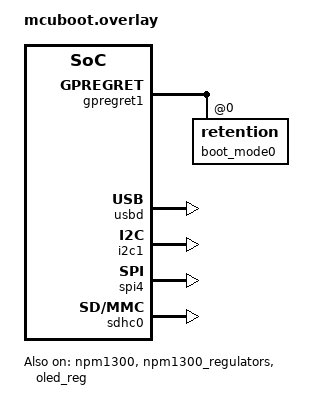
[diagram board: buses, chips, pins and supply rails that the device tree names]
/* SPDX-License-Identifier: Apache-2.0 */
/*
 * MCUboot device tree overlay
 *
 * Disable unnecessary devices for MCUboot to reduce boot power consumption.
 * Keep: SPI3 (external flash), I2C2 + CH1115 (OLED), I2C1 + NPM1300, USB CDC.
 */

/ {
	chosen {
		nordic,pm-ext-flash = &spi_flash;
		zephyr,boot-mode = &boot_mode0;
		zephyr,uart-mcumgr = &cdc_acm_uart0;
	};
	aliases {
		mcuboot-button0 = &usr_btn;
	};
};

&uart0 {
	status = "disabled";
};

&gpregret1 {
	boot_mode0: boot_mode@0 {
		compatible = "zephyr,retention";
		status = "okay";
		reg = <0x0 0x1>;
	};
};

&usbd {
	status = "okay";
	cdc_acm_uart0: cdc_acm_uart0 {
		compatible = "zephyr,cdc-acm-uart";
	};
};

/* I2C1 + NPM1300 for motor haptic and SD card power */
&i2c1 {
	status = "okay";
	/delete-property/ zephyr,pm-device-runtime-auto;
};
&npm1300 {
	status = "okay";
};
&npm1300_regulators {
	status = "okay";
};
&npm1300_buck1 {
	status = "okay";
};
&npm1300_gpio {
	status = "disabled";
};
&npm1300_buck2 {
	status = "disabled";
};
&npm1300_ldo1 {
	status = "disabled";
};
&npm1300_ldo2 {
	status = "okay";
};
&npm1300_charger {
	status = "disabled";
};

/* SPI4 + SDHC for SD card erase in recovery mode */
&spi4 {
	status = "okay";
	/delete-property/ zephyr,pm-device-runtime-auto;
};
&sdhc0 {
	status = "okay";
};

/* Disable QSPI WiFi */
&qspi {
	status = "disabled";
};
&nrf70 {
	status = "disabled";
};

/* Disable PDM */
&pdm0 {
	status = "disabled";
};

/* Disable ADC */
&adc {
	status = "disabled";
};

/* GPIO regulators */
&oled_reg {
	status = "okay";
};
&rfsw_reg {
	status = "disabled";
};
